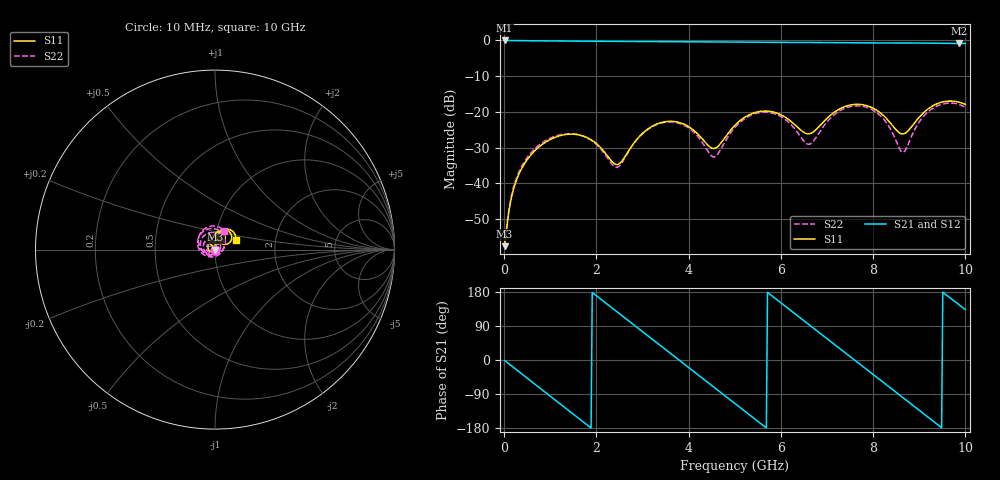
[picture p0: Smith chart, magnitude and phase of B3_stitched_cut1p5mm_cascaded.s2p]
! Channel segmentation validation - 38 mm 50 ohm symmetric stripline coupon
! Case: Coupon B-3 (with stitching vias) - cut 1.5 mm from nearest port, cascaded
! Solver: Ansys HFSS 3D Layout 2026 R1, broadband adaptive 1-5 GHz,
!  Delta S 0.02, interpolating sweep 10 MHz - 10 GHz
! Port[1] = U1.PAD1.SIG
! Port[2] = U2.PAD1.SIG
# GHz S MA R 50.0
! Port[1] = U1.PAD1.SIG
! Port[2] = U2.PAD1.SIG
!freq magS11 angS11 magS21 angS21 magS12 angS12 magS22 angS22
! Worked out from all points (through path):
!   401 points, 10 MHz to 10 GHz, reference 50 ohm
!   highest |S21| = -0.01 dB at 10 MHz (marker M1); lowest = -0.8 dB at 9.86 GHz (marker M2)
!   group delay of S21, straight-line fit = 263 ps
!   lowest |S11| = -57.6 dB at 10 MHz (marker M3), VSWR 1.00, Z = 50.1 - j0.0144 ohm
!   |S11| at or under -10 dB: start of sweep to end of sweep
!   |S22| runs from -57.6 to -17.5 dB; largest |S21 - S12| = 5e-14
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0.01  0.001317 -6.2  0.9986 -1.0  0.9986 -1.0  0.00132 -6.2
0.285  0.01184 -104.3  0.9928 -27.5  0.9928 -27.5  0.01272 -92.7
0.885  0.03714 176.8  0.9845 -84.7  0.9845 -84.7  0.03904 -154.8
1.26  0.0472 137.6  0.98 -120.3  0.98 -120.3  0.04842 168.0
1.685  0.04647 99.6  0.9759 -160.6  0.9759 -160.6  0.04637 122.7
2.11  0.03062 75.1  0.9728 159.1  0.9728 159.1  0.02939 65.4
2.61  0.02312 123.3  0.9687 111.7  0.9687 111.7  0.02223 -83.5
2.985  0.04895 122.4  0.9647 76.1  0.9647 76.1  0.04836 -151.6
3.36  0.06936 99.8  0.9606 40.6  0.9606 40.6  0.06826 161.3
4.06  0.05845 58.0  0.9558 -25.5  0.9558 -25.5  0.05563 74.8
4.56  0.03075 82.0  0.9533 -72.9  0.9533 -72.9  0.02342 -48.7
5.01  0.06544 104.8  0.9484 -115.6  0.9484 -115.6  0.06139 -161.2
5.435  0.09766 83.4  0.9428 -155.7  0.9428 -155.7  0.0942 143.7
5.81  0.1003 60.9  0.9399 168.9  0.9399 168.9  0.09613 98.5
6.285  0.06753 44.3  0.9391 124.1  0.9391 124.1  0.05941 30.8
6.685  0.05141 73.6  0.9372 86.1  0.9372 86.1  0.03761 -86.9
7.535  0.1256 61.1  0.9249 5.7  0.9249 5.7  0.1196 128.6
8.335  0.07475 24.2  0.924 -69.7  0.924 -69.7  0.06341 27.5
8.66  0.04912 52.9  0.923 -100.6  0.923 -100.6  0.0272 -78.1
9.185  0.1091 71.2  0.9149 -150.5  0.9149 -150.5  0.09949 158.3
9.86  0.1368 33.3  0.9068 146.1  0.9068 146.1  0.1271 80.4
10  0.1272 26.0  0.9072 132.9  0.9072 132.9  0.1154 63.4
